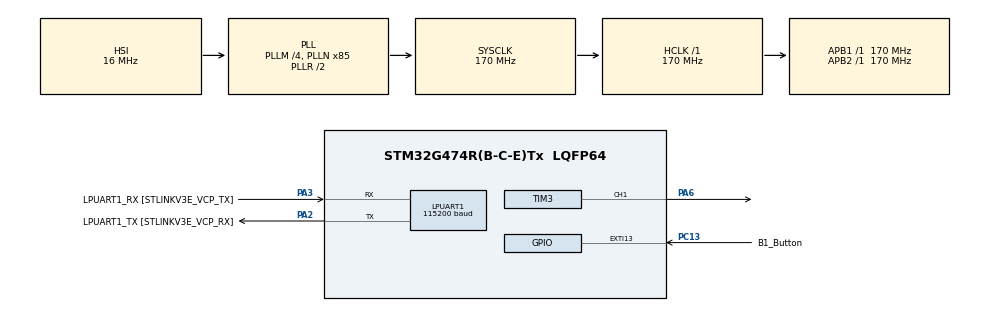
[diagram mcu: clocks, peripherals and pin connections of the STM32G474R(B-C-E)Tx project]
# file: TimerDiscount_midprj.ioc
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LPUART1.BaudRate=115200
Mcu.Family=STM32G4
Mcu.Name=STM32G474R(B-C-E)Tx
Mcu.Package=LQFP64
NVIC.EXTI15_10_IRQn=true\:0\:0\:false\:false\:true\:true\:true\:true
NVIC.PriorityGroup=NVIC_PRIORITYGROUP_4
PA13.GPIO_Label=T_SWDIO
PA13.Signal=SYS_JTMS-SWDIO
PA14.GPIO_Label=T_SWCLK
PA14.Signal=SYS_JTCK-SWCLK
PA2.GPIO_Label=LPUART1_TX [STLINKV3E_VCP_RX]
PA2.Mode=Asynchronous
PA2.Signal=LPUART1_TX
PA3.GPIO_Label=LPUART1_RX [STLINKV3E_VCP_TX]
PA3.Mode=Asynchronous
PA3.Signal=LPUART1_RX
PA6.Signal=S_TIM3_CH1
PB3.GPIO_Label=T_SWO
PB3.Signal=SYS_JTDO-SWO
PC13.GPIO_Label=B1_Button
PC13.GPIO_PuPd=GPIO_PULLDOWN
PC13.Signal=GPXTI13
PC14-OSC32_IN.GPIO_Label=RCC_OSC32_IN
PC14-OSC32_IN.Signal=RCC_OSC32_IN
PC15-OSC32_OUT.GPIO_Label=RCC_OSC32_OUT
PC15-OSC32_OUT.Signal=RCC_OSC32_OUT
PF0-OSC_IN.GPIO_Label=RCC_OSC_IN
PF0-OSC_IN.Signal=RCC_OSC_IN
PF1-OSC_OUT.GPIO_Label=RCC_OSC_OUT
PF1-OSC_OUT.Signal=RCC_OSC_OUT
ProjectManager.HeapSize=0x200
ProjectManager.StackSize=0x400
ProjectManager.TargetToolchain=STM32CubeIDE
RCC.ADC12Freq_Value=170000000
RCC.ADC345Freq_Value=170000000
RCC.AHBFreq_Value=170000000
RCC.APB1Freq_Value=170000000
RCC.APB1TimFreq_Value=170000000
RCC.APB2Freq_Value=170000000
RCC.APB2TimFreq_Value=170000000
RCC.CortexFreq_Value=170000000
RCC.EXTERNAL_CLOCK_VALUE=12288000
RCC.HCLKFreq_Value=170000000
RCC.HSE_VALUE=24000000
RCC.HSI48_VALUE=48000000
RCC.HSI_VALUE=16000000
RCC.LSE_VALUE=32768
RCC.PLLM=RCC_PLLM_DIV4
RCC.PLLN=85
RCC.RTCClockSelection=RCC_RTCCLKSOURCE_LSE
RCC.SYSCLKFreq_VALUE=170000000
RCC.SYSCLKSource=RCC_SYSCLKSOURCE_PLLCLK
RCC.USBFreq_Value=170000000
RCC.VCOOutputFreq_Value=340000000
SH.S_TIM3_CH1.0=TIM3_CH1,PWM Generation1 CH1
TIM2.Prescaler=169
TIM3.Channel-PWM\ Generation1\ CH1=TIM_CHANNEL_1
TIM3.PeriodNoDither=999
TIM3.Prescaler=169
VP_SYS_VS_DBSignals.Mode=DisableDeadBatterySignals
VP_TIM2_VS_ClockSourceINT.Mode=Internal
board=NUCLEO-G474RE

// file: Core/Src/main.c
/* USER CODE BEGIN Header */
/**
  ******************************************************************************
  * @file           : main.c
  * @brief          : Main program body
  ******************************************************************************
  * @attention
  *
  * Copyright (c) 2026 STMicroelectronics.
  * All rights reserved.
  *
  * This software is licensed under terms that can be found in the LICENSE file
  * in the root directory of this software component.
  * If no LICENSE file comes with this software, it is provided AS-IS.
  *
  ******************************************************************************
  */
/* USER CODE END Header */
#include "main.h"

/* USER CODE BEGIN Includes */
#include <stdio.h>
#include <string.h>
#include <math.h>
/* USER CODE END Includes */

UART_HandleTypeDef hlpuart1;

TIM_HandleTypeDef htim2;
TIM_HandleTypeDef htim3;

/* USER CODE BEGIN PV */

volatile uint8_t timer_running = 0;

volatile uint32_t last_button_tick = 0;

volatile uint32_t elapsed_us = 0;

volatile uint8_t result_ready = 0;
volatile uint8_t system_busy = 0;

float elapsed_time = 0.0f;
float time_error = 0.0f;
uint8_t discount = 100;

char uart_buffer[100];

/* USER CODE END PV */

void SystemClock_Config(void);
static void MX_GPIO_Init(void);
static void MX_LPUART1_UART_Init(void);
static void MX_TIM2_Init(void);
static void MX_TIM3_Init(void);
/* USER CODE BEGIN PFP */

void Process_Result(void);
void LED_Breath_3Times(void);

/* USER CODE END PFP */

int main(void)
{

  /* MCU Configuration--------------------------------------------------------*/

  /* Reset of all peripherals, Initializes the Flash interface and the Systick. */
  HAL_Init();

  /* Configure the system clock */
  SystemClock_Config();

  /* Initialize all configured peripherals */
  MX_GPIO_Init();
  MX_LPUART1_UART_Init();
  MX_TIM2_Init();
  MX_TIM3_Init();
  /* USER CODE BEGIN 2 */

  HAL_TIM_PWM_Start(&htim3, TIM_CHANNEL_1);
  __HAL_TIM_SET_COMPARE(&htim3, TIM_CHANNEL_1, 0);

  /* USER CODE END 2 */

  /* Infinite loop */
  while (1)
  {

	  /* USER CODE BEGIN 3 */

	  if (result_ready == 1)
	  {
	      result_ready = 0;

	      elapsed_time = elapsed_us / 1000000.0f;

	      uint32_t error_us;

	      if (elapsed_us >= 10000000UL)
	          error_us = elapsed_us - 10000000UL;
	      else
	          error_us = 10000000UL - elapsed_us;

	      time_error = error_us / 1000000.0f;

	      if (error_us <= 50000UL)
	          discount = 5;
	      else if (error_us <= 200000UL)
	          discount = 7;
	      else if (error_us <= 1000000UL)
	          discount = 9;
	      else
	          discount = 10;

	      char tx_buffer[128];

	      snprintf(tx_buffer, sizeof(tx_buffer),
	               "TIME=%lu.%06lu,ERROR=%lu.%06lu,DISCOUNT=%u\r\n",
	               (unsigned long)(elapsed_us / 1000000UL),
	               (unsigned long)(elapsed_us % 1000000UL),
	               (unsigned long)(error_us / 1000000UL),
	               (unsigned long)(error_us % 1000000UL),
	               (unsigned int)discount);

	      HAL_UART_Transmit(&hlpuart1,
	                        (uint8_t *)tx_buffer,
	                        strlen(tx_buffer),
	                        1000);

	      LED_Breath_3Times();

	      system_busy = 0;
	  }
  /* USER CODE END 3 */
  }

}

void SystemClock_Config(void)
{
  RCC_OscInitTypeDef RCC_OscInitStruct = {0};
  RCC_ClkInitTypeDef RCC_ClkInitStruct = {0};

  /** Configure the main internal regulator output voltage
  */
  HAL_PWREx_ControlVoltageScaling(PWR_REGULATOR_VOLTAGE_SCALE1_BOOST);

  /** Initializes the RCC Oscillators according to the specified parameters
  * in the RCC_OscInitTypeDef structure.
  */
  RCC_OscInitStruct.OscillatorType = RCC_OSCILLATORTYPE_HSI;
  RCC_OscInitStruct.HSIState = RCC_HSI_ON;
  RCC_OscInitStruct.HSICalibrationValue = RCC_HSICALIBRATION_DEFAULT;
  RCC_OscInitStruct.PLL.PLLState = RCC_PLL_ON;
  RCC_OscInitStruct.PLL.PLLSource = RCC_PLLSOURCE_HSI;
  RCC_OscInitStruct.PLL.PLLM = RCC_PLLM_DIV4;
  RCC_OscInitStruct.PLL.PLLN = 85;
  RCC_OscInitStruct.PLL.PLLP = RCC_PLLP_DIV2;
  RCC_OscInitStruct.PLL.PLLQ = RCC_PLLQ_DIV2;
  RCC_OscInitStruct.PLL.PLLR = RCC_PLLR_DIV2;
  if (HAL_RCC_OscConfig(&RCC_OscInitStruct) != HAL_OK)
  {
    Error_Handler();
  }

  /** Initializes the CPU, AHB and APB buses clocks
  */
  RCC_ClkInitStruct.ClockType = RCC_CLOCKTYPE_HCLK|RCC_CLOCKTYPE_SYSCLK
                              |RCC_CLOCKTYPE_PCLK1|RCC_CLOCKTYPE_PCLK2;
  RCC_ClkInitStruct.SYSCLKSource = RCC_SYSCLKSOURCE_PLLCLK;
  RCC_ClkInitStruct.AHBCLKDivider = RCC_SYSCLK_DIV1;
  RCC_ClkInitStruct.APB1CLKDivider = RCC_HCLK_DIV1;
  RCC_ClkInitStruct.APB2CLKDivider = RCC_HCLK_DIV1;

  if (HAL_RCC_ClockConfig(&RCC_ClkInitStruct, FLASH_LATENCY_4) != HAL_OK)
  {
    Error_Handler();
  }
}

static void MX_LPUART1_UART_Init(void)
{

  hlpuart1.Instance = LPUART1;
  hlpuart1.Init.BaudRate = 115200;
  hlpuart1.Init.WordLength = UART_WORDLENGTH_8B;
  hlpuart1.Init.StopBits = UART_STOPBITS_1;
  hlpuart1.Init.Parity = UART_PARITY_NONE;
  hlpuart1.Init.Mode = UART_MODE_TX_RX;
  hlpuart1.Init.HwFlowCtl = UART_HWCONTROL_NONE;
  hlpuart1.Init.OneBitSampling = UART_ONE_BIT_SAMPLE_DISABLE;
  hlpuart1.Init.ClockPrescaler = UART_PRESCALER_DIV1;
  hlpuart1.AdvancedInit.AdvFeatureInit = UART_ADVFEATURE_NO_INIT;
  if (HAL_UART_Init(&hlpuart1) != HAL_OK)
  {
    Error_Handler();
  }
  if (HAL_UARTEx_SetTxFifoThreshold(&hlpuart1, UART_TXFIFO_THRESHOLD_1_8) != HAL_OK)
  {
    Error_Handler();
  }
  if (HAL_UARTEx_SetRxFifoThreshold(&hlpuart1, UART_RXFIFO_THRESHOLD_1_8) != HAL_OK)
  {
    Error_Handler();
  }
  if (HAL_UARTEx_DisableFifoMode(&hlpuart1) != HAL_OK)
  {
    Error_Handler();
  }

}

static void MX_TIM2_Init(void)
{

  TIM_ClockConfigTypeDef sClockSourceConfig = {0};
  TIM_MasterConfigTypeDef sMasterConfig = {0};

  htim2.Instance = TIM2;
  htim2.Init.Prescaler = 169;
  htim2.Init.CounterMode = TIM_COUNTERMODE_UP;
  htim2.Init.Period = 4294967295;
  htim2.Init.ClockDivision = TIM_CLOCKDIVISION_DIV1;
  htim2.Init.AutoReloadPreload = TIM_AUTORELOAD_PRELOAD_DISABLE;
  if (HAL_TIM_Base_Init(&htim2) != HAL_OK)
  {
    Error_Handler();
  }
  sClockSourceConfig.ClockSource = TIM_CLOCKSOURCE_INTERNAL;
  if (HAL_TIM_ConfigClockSource(&htim2, &sClockSourceConfig) != HAL_OK)
  {
    Error_Handler();
  }
  sMasterConfig.MasterOutputTrigger = TIM_TRGO_RESET;
  sMasterConfig.MasterSlaveMode = TIM_MASTERSLAVEMODE_DISABLE;
  if (HAL_TIMEx_MasterConfigSynchronization(&htim2, &sMasterConfig) != HAL_OK)
  {
    Error_Handler();
  }

}

static void MX_TIM3_Init(void)
{

  TIM_MasterConfigTypeDef sMasterConfig = {0};
  TIM_OC_InitTypeDef sConfigOC = {0};

  htim3.Instance = TIM3;
  htim3.Init.Prescaler = 169;
  htim3.Init.CounterMode = TIM_COUNTERMODE_UP;
  htim3.Init.Period = 999;
  htim3.Init.ClockDivision = TIM_CLOCKDIVISION_DIV1;
  htim3.Init.AutoReloadPreload = TIM_AUTORELOAD_PRELOAD_DISABLE;
  if (HAL_TIM_PWM_Init(&htim3) != HAL_OK)
  {
    Error_Handler();
  }
  sMasterConfig.MasterOutputTrigger = TIM_TRGO_RESET;
  sMasterConfig.MasterSlaveMode = TIM_MASTERSLAVEMODE_DISABLE;
  if (HAL_TIMEx_MasterConfigSynchronization(&htim3, &sMasterConfig) != HAL_OK)
  {
    Error_Handler();
  }
  sConfigOC.OCMode = TIM_OCMODE_PWM1;
  sConfigOC.Pulse = 0;
  sConfigOC.OCPolarity = TIM_OCPOLARITY_HIGH;
  sConfigOC.OCFastMode = TIM_OCFAST_DISABLE;
  if (HAL_TIM_PWM_ConfigChannel(&htim3, &sConfigOC, TIM_CHANNEL_1) != HAL_OK)
  {
    Error_Handler();
  }
  HAL_TIM_MspPostInit(&htim3);

}

static void MX_GPIO_Init(void)
{
  GPIO_InitTypeDef GPIO_InitStruct = {0};

  /* GPIO Ports Clock Enable */
  __HAL_RCC_GPIOC_CLK_ENABLE();
  __HAL_RCC_GPIOF_CLK_ENABLE();
  __HAL_RCC_GPIOA_CLK_ENABLE();
  __HAL_RCC_GPIOB_CLK_ENABLE();

  /*Configure GPIO pin : B1_Button_Pin */
  GPIO_InitStruct.Pin = B1_Button_Pin;
  GPIO_InitStruct.Mode = GPIO_MODE_IT_RISING;
  GPIO_InitStruct.Pull = GPIO_PULLDOWN;
  HAL_GPIO_Init(B1_Button_GPIO_Port, &GPIO_InitStruct);

  /* EXTI interrupt init*/
  HAL_NVIC_SetPriority(EXTI15_10_IRQn, 0, 0);
  HAL_NVIC_EnableIRQ(EXTI15_10_IRQn);

}

/* USER CODE BEGIN 4 */

void HAL_GPIO_EXTI_Callback(uint16_t GPIO_Pin)
{
    static uint32_t last_press_ms = 0;

    if (GPIO_Pin == GPIO_PIN_13)
    {

        if (system_busy == 1)
        {
            return;
        }

        uint32_t now = HAL_GetTick();

        if ((now - last_press_ms) < 200)
        {
            return;
        }

        last_press_ms = now;

        if (timer_running == 0)
        {

            result_ready = 0;
            elapsed_us = 0;

            __HAL_TIM_SET_COUNTER(&htim2, 0);
            HAL_TIM_Base_Start(&htim2);

            timer_running = 1;
        }
        else
        {

            elapsed_us = __HAL_TIM_GET_COUNTER(&htim2);
            HAL_TIM_Base_Stop(&htim2);

            timer_running = 0;
            system_busy = 1;
            result_ready = 1;
        }
    }
}
void LED_Breath_3Times(void)
{
    for (int cycle = 0; cycle < 3; cycle++)
    {

        for (int duty = 0; duty <= 999; duty += 10)
        {
            __HAL_TIM_SET_COMPARE(&htim3, TIM_CHANNEL_1, duty);
            HAL_Delay(5);
        }

        for (int duty = 999; duty >= 0; duty -= 10)
        {
            __HAL_TIM_SET_COMPARE(&htim3, TIM_CHANNEL_1, duty);
            HAL_Delay(5);
        }
    }

    __HAL_TIM_SET_COMPARE(&htim3, TIM_CHANNEL_1, 0);
}
/* USER CODE END 4 */

void Error_Handler(void)
{
  __disable_irq();
  while (1)
  {
  }
}
